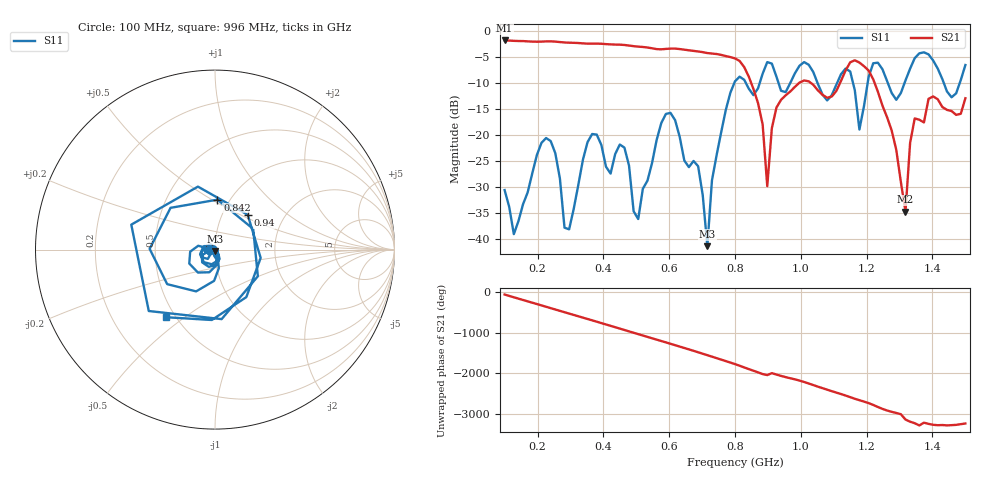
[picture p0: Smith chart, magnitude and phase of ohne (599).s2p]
! NanoVNA-App
! Date: 2025-09-25 14:25:27
! Start: 100MHz Stop: 1,5GHz Points: 101
! S-Parameter data: F S11 S21 S12 S22
# Hz S RI R 50
!  Frequency  S11_Real  S11_Imag  S21_Real  S21_Imag  S12_Real  S12_Imag  S22_Real  S22_Imag
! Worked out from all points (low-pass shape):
!   101 points, 100 MHz to 1.5 GHz, reference 50 ohm
!   highest |S21| = -1.79 dB at 100 MHz (marker M1); lowest = -34.8 dB at 1.318 GHz (marker M2)
!   |S21| within 3 dB of the highest: start of sweep to 771.8 MHz
!   lowest |S11| = -41.4 dB at 716 MHz (marker M3), VSWR 1.02, Z = 49.9 - j0.833 ohm
!   |S11| at or under -10 dB: start of sweep to 797.9 MHz; 833.1 MHz to 875.1 MHz (41.99 MHz wide, 4.92 % of centre); 1.051 GHz to 1.11 GHz (59.34 MHz wide, 5.49 % of centre) (the widest 3 of 7)
!   S12 and S22 are empty: the file has one direction only
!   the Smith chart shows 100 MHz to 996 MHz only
!   S11 on the Smith chart (normalised r, x): 100 MHz: 0.94, -0.01; 842 MHz: 0.88, +0.53; 940 MHz: 1.31, +0.55; 996 MHz: 0.45, -0.43
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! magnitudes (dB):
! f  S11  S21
! 100 MHz  -30.6  -1.8
! 128 MHz  -39.1  -1.9
! 226 MHz  -20.6  -2.0
! 296 MHz  -38.2  -2.2
! 338 MHz  -24.8  -2.4
! 464 MHz  -22.4  -2.7
! 506 MHz  -36.2  -3.0
! 576 MHz  -17.7  -3.5
! 688 MHz  -26.0  -3.9
! 716 MHz  -41.4  -4.2
! 800 MHz  -9.7  -5.2
! 842 MHz  -11.1  -8.8
! 898 MHz  -6.0  -29.9
! 940 MHz  -11.5  -13.2
! 996 MHz  -6.7  -9.9
! 1.038 GHz  -7.9  -10.3
! 1.178 GHz  -19.0  -6.1
! 1.22 GHz  -6.2  -9.3
! 1.276 GHz  -11.9  -19.1
! 1.318 GHz  -9.5  -34.8
! 1.346 GHz  -5.2  -16.8
! 1.5 GHz  -6.5  -12.9
